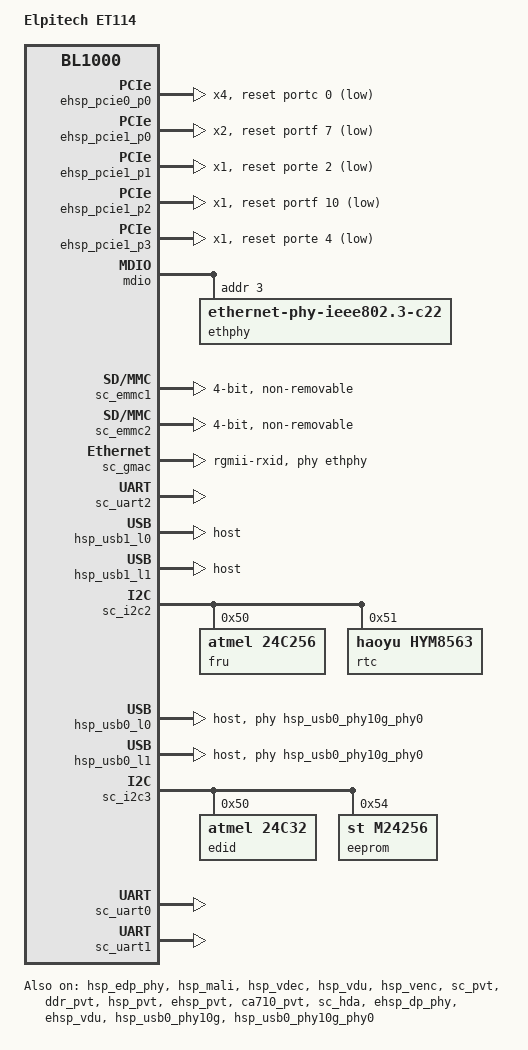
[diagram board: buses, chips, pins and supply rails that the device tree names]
// SPDX-License-Identifier: GPL-2.0
/*
 * Device tree source for Elpitech ET114 v1.0 board
 */

/dts-v1/;

#include "bl1000.dtsi"

/ {
	model = "Elpitech ET114";
	compatible = "baikal,dbl", "baikal,bl1000";

	aliases {
		ethernet0 = &sc_gmac;
		fru = &fru;
	};

	chosen { };

};

&ehsp_pcie0_p0 {
	status = "okay";
	num-lanes = <4>;
	max-link-speed = <3>;
//	reset-gpios = <&portf 4 GPIO_ACTIVE_LOW>;
	reset-gpios = <&portc 0 GPIO_ACTIVE_LOW>;
};

&ehsp_pcie1_p0 {
	status = "okay";
	num-lanes = <2>;
	max-link-speed = <3>;
	reset-gpios = <&portf 7 GPIO_ACTIVE_LOW>;
};

&ehsp_pcie1_p1 {
//	status = "okay";
	num-lanes = <1>;
	max-link-speed = <3>;
	reset-gpios = <&porte 2 GPIO_ACTIVE_LOW>;
};

&ehsp_pcie1_p2 {
	status = "okay";
	num-lanes = <1>;
	max-link-speed = <3>;
	reset-gpios = <&portf 10 GPIO_ACTIVE_LOW>;
};

&ehsp_pcie1_p3 {
//	status = "okay";
	num-lanes = <1>;
	max-link-speed = <3>;
	reset-gpios = <&porte 4 GPIO_ACTIVE_LOW>;
};

&hsp_edp_phy {
	status = "okay";
};

&edp_phy {
	cdns,num-lanes = <2>;
};

&hsp_lsp_pinctrl0 {
	status = "okay";
};

&hsp_lsp_pinctrl1 {
	status = "okay";
};

&hsp_lsp_pinctrl2 {
	status = "okay";
};

&hsp_mali {
	status = "okay";
};

&hsp_vdec {
	status = "okay";
};

&hsp_vdu {
	status = "okay";
	dp-lanes = <4>;
	backlight {
		min-brightness-level = <10>;
		default-brightness-level = <60>;
		brightness-level-step = <2>;
		pwm-frequency = <20000>;
	};
};

&hsp_venc {
	status = "okay";
};

&mdio {
	interrupt-parent = <&porte>;
	interrupts = <13 IRQ_TYPE_LEVEL_LOW>;

	ethphy: ethernet-phy@3 {
		compatible = "ethernet-phy-ieee802.3-c22";
		reg = <0x3>;
	};
};

&sc_emmc1 {
	status = "okay";
	pinctrl = <&sc_emmc_mux_emmc1>,
		  <&sc_emmc_hc1_1_8v>,
		  <&sc_emmc_hc1_mem_pwrup>,
		  <&sc_emmc_pu_hc1_cmd_dat_0_7>,
		  <&sc_emmc_pd_hc1_dqs>;
	bus-width = <4>;
	no-sd;
	no-sdio;
	non-removable;
	mmc-ddr-1_8v;
	sdhci-caps-mask = <0x00000002 0x03000000>;
	sdhci-caps = <0x0 0x40000>;
};

&sc_emmc2 {
	status = "okay";
	pinctrl = <&sc_emmc_mux_emmc2>,
		  <&sc_emmc_hc2_1_8v>,
		  <&sc_emmc_hc2_mem_pwrup>,
		  <&sc_emmc_pu_hc2_cmd_dat_0_7>,
		  <&sc_emmc_pd_hc2_dqs>;
	bus-width = <4>;
	no-sd;
	no-sdio;
	non-removable;
	mmc-ddr-1_8v;
	sdhci-caps-mask = <0x00000002 0x03000000>;
	sdhci-caps = <0x0 0x40000>;
};

&sc_emmc_pinctrl {
	status = "okay";
};

&sc_emmc_pu_pinctrl {
	status = "okay";
};

&sc_emmc_pd_pinctrl {
	status = "okay";
};

&sc_gmac {
	status = "okay";
	pinctrl = <&sc_gmac_sdio_bit0_mode1>;//,//; //,
//		  <&hsp_lsp_pin12_gpio32>;
//vvv		  <&sc_lsp_pin1_gpio32>;

	phy-handle = <&ethphy>;
	phy-mode = "rgmii-rxid";

	snps,reset-gpios = <&portf 0 GPIO_ACTIVE_LOW>;
	reset-delay-us = <10 10200 60000>;
};

&sc_gmac_sdio_pinctrl {
	status = "okay";
};

&sc_gpio32 {
	status = "okay";
};

&hsp_gpio32 {
	status = "okay";
};

&sc_gpio30 {
	status = "okay";
};

&hsp_lsp_pinctrl0 {
	status = "okay";
};

&sc_lsp_pinctrl0 {
	status = "okay";
};

&sc_lsp_pinctrl1 {
	status = "okay";
};

&sc_lsp_pinctrl2 {
	status = "okay";
};

&sc_uart2 {
	status = "okay";
	pinctrl = <&sc_lsp_pin12_uart2_rxd>,
		  <&sc_lsp_pin13_uart2_txd>;
};

&sc_pvt {
	status = "okay";
};

&ddr_pvt {
	status = "okay";
};

&hsp_pvt {
	status = "okay";
};

&ehsp_pvt {
	status = "okay";
};

&ca710_pvt {
	status = "okay";
};

&sc_hda {
	status = "okay";
	pinctrl = <&sc_lsp_pin14_hda_rst>,
		  <&sc_lsp_pin15_hda_sync>,
		  <&sc_lsp_pin16_hda_bclk>,
		  <&sc_lsp_pin17_hda_sdo0>,
		  <&sc_lsp_pin18_hda_sdi0>;
};

&ehsp_dp_phy {
	status = "okay";
};

&ehsp_vdu {
	status = "okay";
	dp-lanes = <4>;
};

&hsp_usb1_l0 {
	status = "okay";
	dr_mode = "host";
	maximum-speed = "super-speed";
};

&hsp_usb1_l1 {
//vvv	status = "okay";
	dr_mode = "host";
	maximum-speed = "high-speed";
};

&sc_i2c2 {
	status = "okay";
	pinctrl = <&sc_lsp_pin4_i2c2_scl>,
		  <&sc_lsp_pin5_i2c2_sda>;

	fru: eeprom@50 {
		compatible = "atmel,24c256";
		reg = <0x50>;
	};

	rtc: rtc@51 {
		compatible = "haoyu,hym8563";
		reg = <0x51>;
	};
};

#if 0 //vvv
&hsp_i2c2 {
	status = "okay";
	pinctrl = <&hsp_lsp_pin4_i2c2_scl>,
		  <&hsp_lsp_pin5_i2c2_sda>;

	eeprom@54 {
		compatible = "st,m24256";
		reg = <0x54>;
	};
};
#endif

&hsp_usb0_l0 { /* Connected to USB A0 receptacle */
	status = "okay";
	dr_mode = "host";
	maximum-speed = "super-speed";
	phys = <&hsp_usb0_phy10g_phy0>;
	phy-names = "cdns3,usb3-phy";
};

&hsp_usb0_l1 { /* Connected to USB A1 receptacle */
	status = "okay";
	dr_mode = "host";
	maximum-speed = "super-speed";
	phys = <&hsp_usb0_phy10g_phy0>;
	phy-names = "cdns3,usb3-phy";
};

&hsp_usb0_phy10g {
	status = "okay";
};

&hsp_usb0_phy10g_phy0 {
	status = "okay";
	cdns,num-lanes = <2>;
};

&sc_i2c3 {
	status = "okay";
	pinctrl = <&sc_lsp_pin6_i2c3_scl>,
		  <&sc_lsp_pin7_i2c3_sda>;

	edid: eeprom@50 {
		compatible = "atmel,24c32";
		pagesize = <32>;
		reg = <0x50>;
	};

	eeprom@54 {
		compatible = "st,m24256";
		reg = <0x54>;
	};
};

&sc_uart0 {
	status = "okay";
	pinctrl = <&sc_lsp_pin8_uart0_rxd>,
		  <&sc_lsp_pin9_uart0_txd>;
};

&sc_uart1 {
	status = "okay";
	pinctrl = <&sc_lsp_pin10_uart1_rxd>,
		  <&sc_lsp_pin11_uart1_txd>;
};

